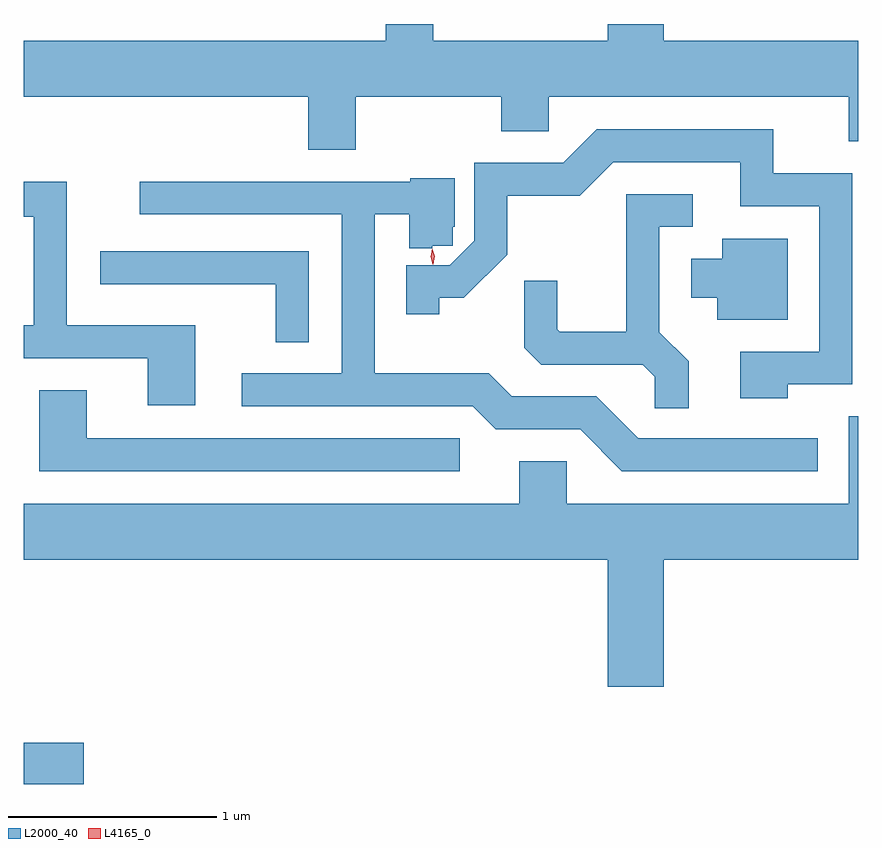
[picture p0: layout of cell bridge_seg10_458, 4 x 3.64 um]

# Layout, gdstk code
import gdstk
lib = gdstk.Library(unit=1e-6, precision=1e-09)
def R(c, l, rs):  # rectangles x0, y0, x1, y1
    for r in rs: c.add(gdstk.rectangle(r[:2], r[2:], *l))
def P(c, l, *ps):  # polygons
    for p in ps: c.add(gdstk.Polygon(p, *l))
L2000_40 = (2000, 40)
L4165_0 = (4165, 0)

bridge_seg10_458 = lib.new_cell('bridge_seg10_458')
R(bridge_seg10_458, L2000_40, [(1051.437,2161.681,1051.724,2161.879)])
P(bridge_seg10_458, L2000_40, [(1053.029,2164.976),(1053.726,2164.976),(1053.726,2164.811),(1053.954,2164.811),(1053.954,2164.976),(1055.391,2164.976),(1055.391,2164.761),(1055.437,2164.761),(1055.437,2165.244),(1054.504,2165.244),(1054.504,2165.324),(1054.236,2165.324),(1054.236,2165.244),(1053.399,2165.244),(1053.399,2165.324),(1053.171,2165.324),(1053.171,2165.244),(1051.437,2165.244),(1051.437,2164.976),(1052.801,2164.976),(1052.801,2164.721),(1053.029,2164.721)],
  [(1055.099,2163.596),(1055.409,2163.596),(1055.409,2164.609),(1055.029,2164.609),(1055.029,2164.819),(1054.184,2164.819),(1054.024,2164.659),(1053.596,2164.659),(1053.596,2164.286),(1053.478,2164.168),(1053.271,2164.168),(1053.271,2163.933),(1053.429,2163.933),(1053.429,2164.011),(1053.547,2164.011),(1053.754,2164.219),(1053.754,2164.501),(1054.102,2164.501),(1054.262,2164.661),(1054.871,2164.661),(1054.871,2164.451),(1055.251,2164.451),(1055.251,2163.754),(1054.871,2163.754),(1054.871,2163.531),(1055.099,2163.531)],
  [(1055.243,2163.339),(1054.382,2163.339),(1054.182,2163.539),(1053.777,2163.539),(1053.667,2163.649),(1053.119,2163.649),(1053.119,2164.411),(1053.286,2164.411),(1053.286,2164.249),(1053.395,2164.249),(1053.395,2164.261),(1053.493,2164.261),(1053.493,2164.351),(1053.504,2164.351),(1053.504,2164.584),(1053.29,2164.584),(1053.29,2164.569),(1051.993,2164.569),(1051.993,2164.411),(1052.961,2164.411),(1052.961,2163.649),(1052.483,2163.649),(1052.483,2163.491),(1053.589,2163.491),(1053.699,2163.381),(1054.104,2163.381),(1054.304,2163.181),(1055.243,2163.181)],
  [(1052.259,2163.879),(1051.644,2163.879),(1051.644,2164.569),(1051.437,2164.569),(1051.437,2164.401),(1051.486,2164.401),(1051.486,2163.879),(1051.437,2163.879),(1051.437,2163.721),(1052.031,2163.721),(1052.031,2163.496),(1052.259,2163.496)],
  [(1054.624,2163.707),(1054.484,2163.847),(1054.484,2164.351),(1054.643,2164.351),(1054.643,2164.509),(1054.326,2164.509),(1054.326,2163.849),(1054.007,2163.849),(1053.994,2163.862),(1053.994,2164.093),(1053.836,2164.093),(1053.836,2163.772),(1053.917,2163.691),(1054.404,2163.691),(1054.461,2163.634),(1054.461,2163.483),(1054.624,2163.483)],
  [(1055.099,2164.294),(1054.786,2164.294),(1054.786,2164.199),(1054.636,2164.199),(1054.636,2164.011),(1054.761,2164.011),(1054.761,2163.906),(1055.099,2163.906)],
  [(1052.804,2164.234),(1051.803,2164.234),(1051.803,2164.076),(1052.646,2164.076),(1052.646,2163.798),(1052.804,2163.798)],
  [(1053.528,2163.339),(1051.739,2163.339),(1051.739,2163.569),(1051.511,2163.569),(1051.511,2163.181),(1053.528,2163.181)],
  [(1054.504,2162.756),(1055.437,2162.756),(1055.437,2163.444),(1055.391,2163.444),(1055.391,2163.024),(1054.039,2163.024),(1054.039,2163.229),(1053.811,2163.229),(1053.811,2163.024),(1051.437,2163.024),(1051.437,2162.756),(1054.236,2162.756),(1054.236,2162.146),(1054.504,2162.146)])
P(bridge_seg10_458, L4165_0, [(1053.398,2164.172),(1053.398,2164.172),(1053.387,2164.209),(1053.395,2164.247),(1053.395,2164.247),(1053.396,2164.247),(1053.407,2164.21),(1053.399,2164.172)],
  [(1053.398,2164.174),(1053.398,2164.174),(1053.387,2164.209),(1053.395,2164.245),(1053.395,2164.245),(1053.396,2164.245),(1053.407,2164.21),(1053.399,2164.174)])

lib.write_gds('bridge_seg10_458.gds')
